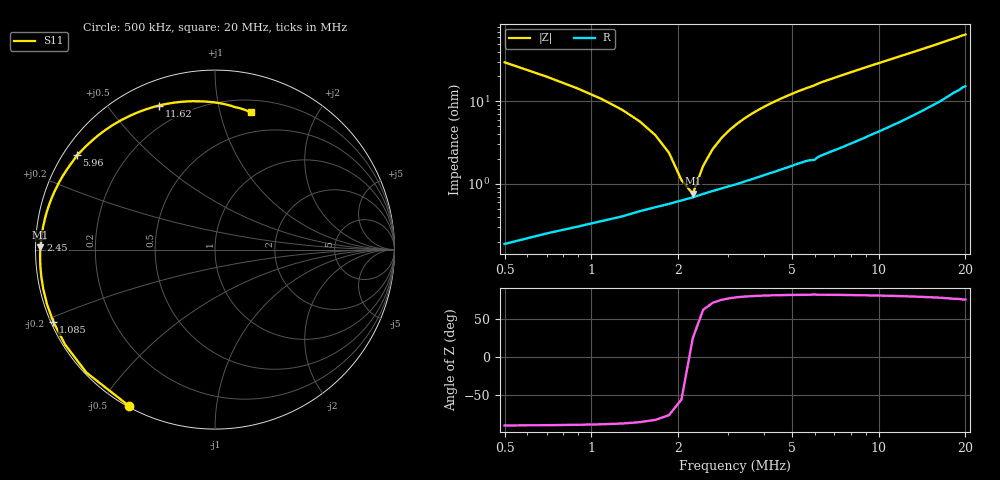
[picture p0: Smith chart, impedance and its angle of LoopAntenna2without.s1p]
# HZ S RI R 50
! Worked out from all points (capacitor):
!   101 points, 500 kHz to 20 MHz, reference 50 ohm
!   read as one part to ground: C = 10.3 nF near 500 kHz
!   lowest |Z| = 758 mohm at 2.255 MHz (marker M1)
!   series resonance near 2.204 MHz, so ESL is about 510 nH
!   S11 on the Smith chart (normalised r, x): 500 kHz: 0.00, -0.59; 1.085 MHz: 0.01, -0.21; 2.45 MHz: 0.02, +0.03; 5.96 MHz: 0.04, +0.31; 11.62 MHz: 0.11, +0.68; 20 MHz: 0.31, +1.25
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500000  -0.4766 -0.8729
695000  -0.7166 -0.6852
890000  -0.836 -0.5282
1085000  -0.9002 -0.4037
1280000  -0.9364 -0.3035
1475000  -0.9567 -0.2205
1670000  -0.9678 -0.1506
1865000  -0.9733 -0.0899
2060000  -0.9745 -0.0356
2255000  -0.9729 0.0126
2450000  -0.9686 0.0568
3035000  -0.9483 0.1694
3620000  -0.9196 0.2624
4205000  -0.8853 0.342
4790000  -0.8474 0.4116
5375000  -0.8065 0.4728
5960000  -0.7687 0.5258
6545000  -0.717 0.5777
7910000  -0.6085 0.6676
9080000  -0.5134 0.7261
1.025e7  -0.4192 0.7688
1.1615e7  -0.3128 0.8024
1.2785e7  -0.2252 0.8191
1.3955e7  -0.1424 0.8262
1.5125e7  -0.0648 0.8254
1.6295e7  0.00848 0.8187
1.766e7  0.0871 0.8018
2e7  0.2028 0.7655
